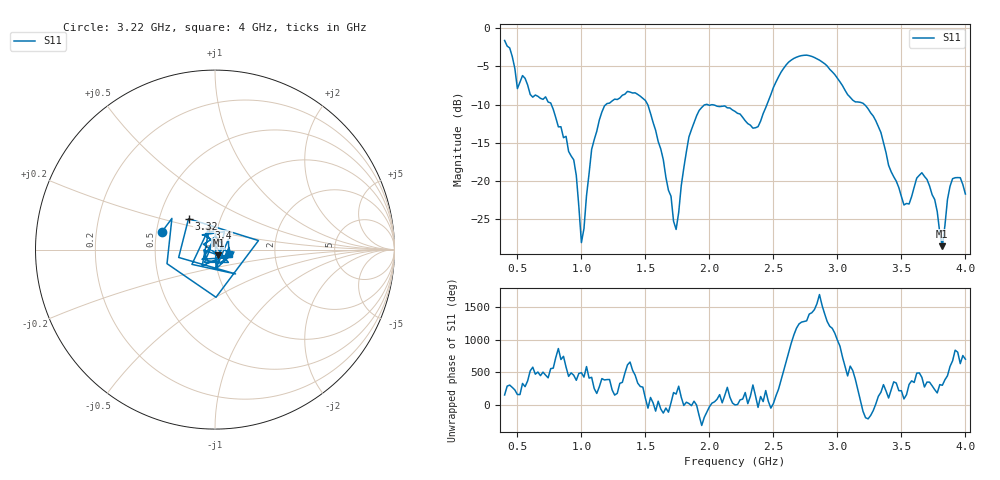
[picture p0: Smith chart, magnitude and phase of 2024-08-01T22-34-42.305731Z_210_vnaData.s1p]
!Created with skrf (http://scikit-rf.org).
# Hz S RI R 50.0
!freq ReS11 ImS11
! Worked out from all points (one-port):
!   181 points, 400 MHz to 4 GHz, reference 50 ohm
!   lowest |S11| = -28.6 dB at 3.82 GHz (marker M1), VSWR 1.08, Z = 51.8 - j3.32 ohm
!   |S11| at or under -10 dB: 1.518 GHz to 1.974 GHz (456.5 MHz wide, 26.1 % of centre); 1.984 GHz to 2.45 GHz (466 MHz wide, 21 % of centre); 3.211 GHz to end of sweep (the widest 3 of 4)
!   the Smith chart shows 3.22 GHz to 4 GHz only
!   S11 on the Smith chart (normalised r, x): 3.22 GHz: 0.54, +0.12; 3.32 GHz: 0.70, +0.26; 3.4 GHz: 0.91, +0.23; 4 GHz: 1.17, -0.06
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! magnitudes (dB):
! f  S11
! 400 MHz  -1.6
! 500 MHz  -7.9
! 720 MHz  -9.0
! 860 MHz  -14.4
! 940 MHz  -17.3
! 1 GHz  -28.1
! 1.08 GHz  -15.9
! 1.14 GHz  -12.0
! 1.3 GHz  -9.1
! 1.52 GHz  -10.1
! 1.72 GHz  -25.3
! 1.76 GHz  -24.2
! 1.84 GHz  -14.3
! 1.92 GHz  -10.8
! 2.2 GHz  -10.9
! 2.38 GHz  -12.9
! 2.66 GHz  -4.0
! 2.9 GHz  -4.6
! 3.1 GHz  -9.1
! 3.22 GHz  -10.1
! 3.32 GHz  -12.9
! 3.4 GHz  -18.0
! 3.56 GHz  -23.1
! 3.66 GHz  -19.0
! 3.76 GHz  -22.5
! 3.82 GHz  -28.6
! 3.9 GHz  -19.7
! 4 GHz  -21.7
